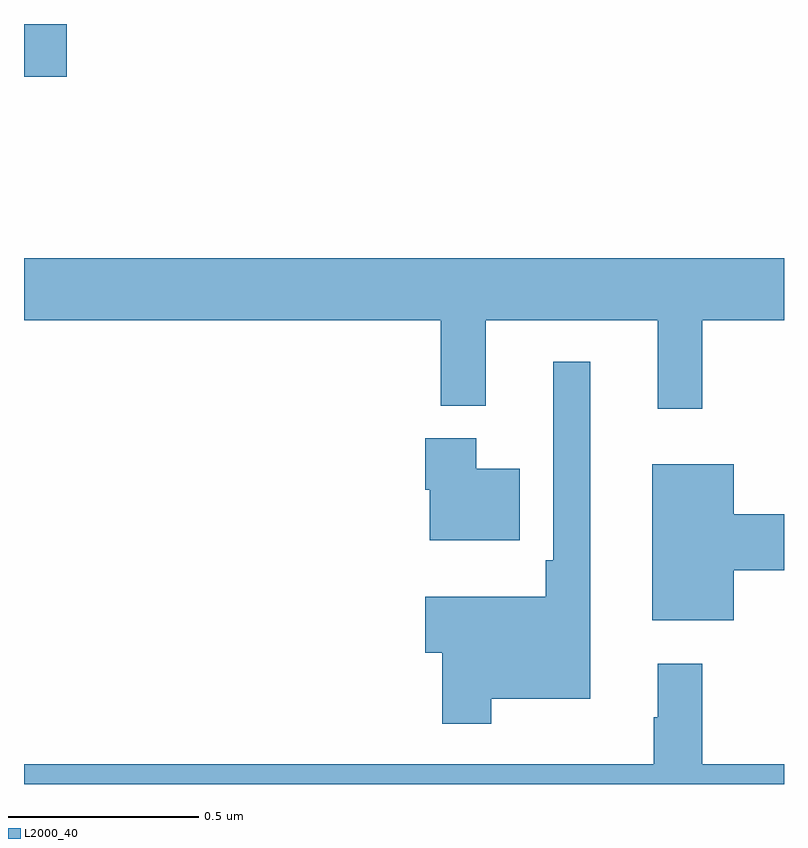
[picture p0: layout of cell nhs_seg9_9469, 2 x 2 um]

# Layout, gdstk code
import gdstk
lib = gdstk.Library(unit=1e-6, precision=1e-09)
def R(c, l, rs):  # rectangles x0, y0, x1, y1
    for r in rs: c.add(gdstk.rectangle(r[:2], r[2:], *l))
def P(c, l, *ps):  # polygons
    for p in ps: c.add(gdstk.Polygon(p, *l))
L2000_40 = (2000, 40)

nhs_seg9_9469 = lib.new_cell('nhs_seg9_9469')
R(nhs_seg9_9469, L2000_40, [(230,1230.361,230.113,1230.5)])
P(nhs_seg9_9469, L2000_40, [(231.785,1229.72),(232,1229.72),(232,1229.884),(230,1229.884),(230,1229.72),(231.097,1229.72),(231.097,1229.495),(231.215,1229.495),(231.215,1229.72),(231.668,1229.72),(231.668,1229.487),(231.785,1229.487)],
  [(231.229,1228.724),(231.49,1228.724),(231.49,1229.611),(231.393,1229.611),(231.393,1229.089),(231.373,1229.089),(231.373,1228.993),(231.056,1228.993),(231.056,1228.846),(231.1,1228.846),(231.1,1228.659),(231.229,1228.659)],
  [(231.304,1229.329),(231.19,1229.329),(231.19,1229.41),(231.056,1229.41),(231.056,1229.274),(231.068,1229.274),(231.068,1229.141),(231.304,1229.141)],
  [(231.868,1229.063),(232,1229.063),(232,1229.21),(231.868,1229.21),(231.868,1229.341),(231.653,1229.341),(231.653,1228.931),(231.868,1228.931)],
  [(232,1228.552),(231.785,1228.552),(231.785,1228.816),(231.668,1228.816),(231.668,1228.676),(231.657,1228.676),(231.657,1228.552),(230,1228.552),(230,1228.5),(232,1228.5)])

lib.write_gds('nhs_seg9_9469.gds')
